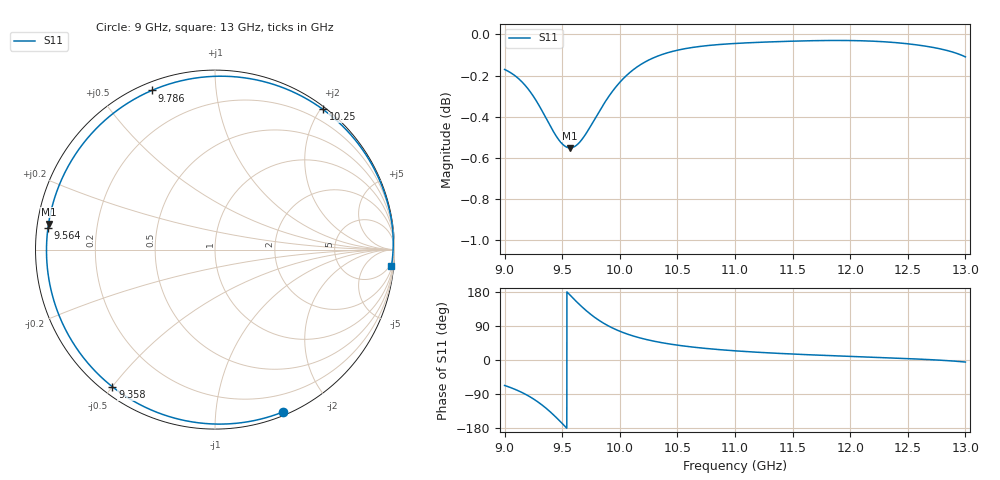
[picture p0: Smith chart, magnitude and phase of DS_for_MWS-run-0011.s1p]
! TOUCHSTONE file generated by CST DESIGN STUDIO
! Date and time: Tue Feb  4 13:51:32 2025
! Project name: C:\Work\MatlabApps\UnitCellOptimizationMatlab\CST\unitcell.cst
! Tree item: Tasks\Sweep1\SPara1\S-Parameters
! Header version: 2024
! Port assignment regex: !\s*Touchstone port\s*([0-9]+)\s*=\s*(CST MWS port|CST DES external port|CST DES block port)\s*(.+)\s* \(\"(.*)\"\)(\s*mode\s*([0-9]+))?.*
! Touchstone port assignment:
! Touchstone port 1 = CST DES external port 1 ("")
# GHz S MA R 50
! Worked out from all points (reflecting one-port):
!   4001 points, 9 GHz to 13 GHz, reference 50 ohm
!   lowest |S11| = -0.6 dB at 9.568 GHz (marker M1), VSWR 31.50, Z = 1.6 + j3.83 ohm
!   phase of S11 starts at -67 deg and turns -298 deg over the sweep
!   S11 on the Smith chart (normalised r, x): 9 GHz: 0.03, -1.50; 9.358 GHz: 0.03, -0.50; 9.564 GHz: 0.03, +0.07; 9.786 GHz: 0.03, +0.68; 10.25 GHz: 0.04, +2.03; 13 GHz: 3, -21
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9  0.9806 -67.2
9.104  0.9765 -79.2
9.214  0.9691 -96.0
9.29  0.9619 -110.9
9.358  0.9544 -126.8
9.425  0.9469 -144.9
9.464  0.9432 -156.4
9.5  0.9406 -167.4
9.532  0.9391 -177.5
9.564  0.9385 172.5
9.568  0.9385 171.2
9.621  0.9397 154.9
9.681  0.9437 137.6
9.733  0.9486 124.0
9.786  0.9541 111.7
9.88  0.9636 93.4
10  0.9735 75.9
10.119  0.9805 63.1
10.254  0.9858 52.4
10.369  0.9889 45.5
10.5  0.9912 39.2
10.72  0.9935 31.3
11  0.9949 24.2
11.5  0.9962 15.7
12  0.9966 9.5
12.5  0.9947 3.7
12.786  0.9919 -0.6
13  0.9875 -5.4
